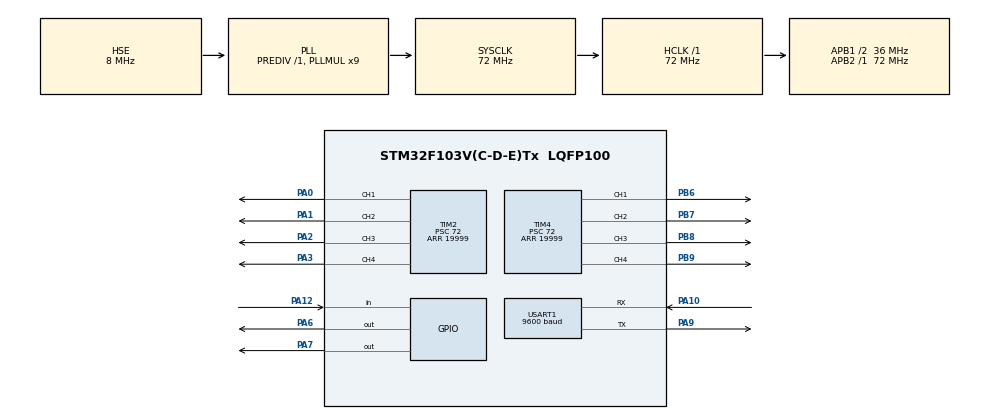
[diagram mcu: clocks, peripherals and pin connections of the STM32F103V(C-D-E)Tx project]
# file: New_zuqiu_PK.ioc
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Dma.Request0=USART1_TX
Dma.Request1=USART1_RX
Dma.USART1_RX.1.Direction=DMA_PERIPH_TO_MEMORY
Dma.USART1_RX.1.Instance=DMA1_Channel5
Dma.USART1_RX.1.MemDataAlignment=DMA_MDATAALIGN_BYTE
Dma.USART1_RX.1.MemInc=DMA_MINC_ENABLE
Dma.USART1_RX.1.Mode=DMA_NORMAL
Dma.USART1_RX.1.PeriphDataAlignment=DMA_PDATAALIGN_BYTE
Dma.USART1_RX.1.PeriphInc=DMA_PINC_DISABLE
Dma.USART1_RX.1.Priority=DMA_PRIORITY_LOW
Dma.USART1_TX.0.Direction=DMA_MEMORY_TO_PERIPH
Dma.USART1_TX.0.Instance=DMA1_Channel4
Dma.USART1_TX.0.MemDataAlignment=DMA_MDATAALIGN_BYTE
Dma.USART1_TX.0.MemInc=DMA_MINC_ENABLE
Dma.USART1_TX.0.Mode=DMA_NORMAL
Dma.USART1_TX.0.PeriphDataAlignment=DMA_PDATAALIGN_BYTE
Dma.USART1_TX.0.PeriphInc=DMA_PINC_DISABLE
Dma.USART1_TX.0.Priority=DMA_PRIORITY_LOW
Mcu.Family=STM32F1
Mcu.Name=STM32F103V(C-D-E)Tx
Mcu.Package=LQFP100
NVIC.DMA1_Channel4_IRQn=true\:0\:0\:false\:false\:true\:false\:true\:true
NVIC.DMA1_Channel5_IRQn=true\:0\:0\:false\:false\:true\:false\:true\:true
NVIC.PriorityGroup=NVIC_PRIORITYGROUP_4
NVIC.USART1_IRQn=true\:0\:0\:false\:false\:true\:false\:true\:true
OSC_IN.Mode=HSE-External-Oscillator
OSC_IN.Signal=RCC_OSC_IN
OSC_OUT.Mode=HSE-External-Oscillator
OSC_OUT.Signal=RCC_OSC_OUT
PA0-WKUP.Signal=S_TIM2_CH1_ETR
PA1.Signal=S_TIM2_CH2
PA10.Mode=Asynchronous
PA10.Signal=USART1_RX
PA12.Signal=GPIO_Input
PA13.Mode=Serial_Wire
PA13.Signal=SYS_JTMS-SWDIO
PA14.Mode=Serial_Wire
PA14.Signal=SYS_JTCK-SWCLK
PA2.Signal=S_TIM2_CH3
PA3.Signal=S_TIM2_CH4
PA6.Signal=GPIO_Output
PA7.Signal=GPIO_Output
PA9.Mode=Asynchronous
PA9.Signal=USART1_TX
PB6.Signal=S_TIM4_CH1
PB7.Signal=S_TIM4_CH2
PB8.Signal=S_TIM4_CH3
PB9.Signal=S_TIM4_CH4
ProjectManager.HeapSize=0x200
ProjectManager.StackSize=0x400
ProjectManager.TargetToolchain=MDK-ARM V5.32
RCC.AHBFreq_Value=72000000
RCC.APB1CLKDivider=RCC_HCLK_DIV2
RCC.APB1Freq_Value=36000000
RCC.APB1TimFreq_Value=72000000
RCC.APB2Freq_Value=72000000
RCC.APB2TimFreq_Value=72000000
RCC.HCLKFreq_Value=72000000
RCC.PLLMUL=RCC_PLL_MUL9
RCC.PLLSourceVirtual=RCC_PLLSOURCE_HSE
RCC.SYSCLKFreq_VALUE=72000000
RCC.SYSCLKSource=RCC_SYSCLKSOURCE_PLLCLK
RCC.USBFreq_Value=72000000
SH.S_TIM2_CH1_ETR.0=TIM2_CH1,PWM Generation1 CH1
SH.S_TIM2_CH2.0=TIM2_CH2,PWM Generation2 CH2
SH.S_TIM2_CH3.0=TIM2_CH3,PWM Generation3 CH3
SH.S_TIM2_CH4.0=TIM2_CH4,PWM Generation4 CH4
SH.S_TIM4_CH1.0=TIM4_CH1,PWM Generation1 CH1
SH.S_TIM4_CH2.0=TIM4_CH2,PWM Generation2 CH2
SH.S_TIM4_CH3.0=TIM4_CH3,PWM Generation3 CH3
SH.S_TIM4_CH4.0=TIM4_CH4,PWM Generation4 CH4
TIM2.Channel-PWM\ Generation1\ CH1=TIM_CHANNEL_1
TIM2.Channel-PWM\ Generation2\ CH2=TIM_CHANNEL_2
TIM2.Channel-PWM\ Generation3\ CH3=TIM_CHANNEL_3
TIM2.Channel-PWM\ Generation4\ CH4=TIM_CHANNEL_4
TIM2.Period=19999
TIM2.Prescaler=72
TIM4.Channel-PWM\ Generation1\ CH1=TIM_CHANNEL_1
TIM4.Channel-PWM\ Generation2\ CH2=TIM_CHANNEL_2
TIM4.Channel-PWM\ Generation3\ CH3=TIM_CHANNEL_3
TIM4.Channel-PWM\ Generation4\ CH4=TIM_CHANNEL_4
TIM4.OCPolarity_1=TIM_OCPOLARITY_LOW
TIM4.OCPolarity_2=TIM_OCPOLARITY_LOW
TIM4.OCPolarity_3=TIM_OCPOLARITY_LOW
TIM4.OCPolarity_4=TIM_OCPOLARITY_LOW
TIM4.Period=19999
TIM4.Prescaler=72
USART1.BaudRate=9600
USART1.VirtualMode=VM_ASYNC
VP_TIM2_VS_ClockSourceINT.Mode=Internal
VP_TIM4_VS_ClockSourceINT.Mode=Internal
board=custom

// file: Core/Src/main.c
/* USER CODE BEGIN Header */
/**
  ******************************************************************************
  * @file           : main.c
  * @brief          : Main program body
  ******************************************************************************
  * @attention
  *
  * Copyright (c) 2026 STMicroelectronics.
  * All rights reserved.
  *
  * This software is licensed under terms that can be found in the LICENSE file
  * in the root directory of this software component.
  * If no LICENSE file comes with this software, it is provided AS-IS.
  *
  ******************************************************************************
  */
/* USER CODE END Header */
#include "main.h"
#include "dma.h"
#include "tim.h"
#include "usart.h"
#include "gpio.h"

/* USER CODE BEGIN Includes */
#include "BSP_Motor.h"
#include "Printf_DMA.H"
#include "BSP_433.H"
#include "BSP_servo.H"
/* USER CODE END Includes */

void SystemClock_Config(void);

/* USER CODE BEGIN 0 */
///* 左侧十字按键。 */
//#define CMD_Cross_Up       (0x5751U)
//#define CMD_Cross_Down     (0x585AU)
//#define CMD_Cross_LEFT     (0x5341U)
//#define CMD_Cross_RIGHT    (0x584DU)

///* 右侧纵向排列的两个按键。 */
//#define CMD_Forward        (0x4F50U)
//#define CMD_Back           (0x4B4CU)

///* 下方横向排列的两个按键。 */
//#define CMD_One            (0x4342U)
//#define CMD_Two            (0x4944U)

uint32_t old_printf_time=0;		//上一次打印时间

uint16_t Servo_Control=0;		//舵机控制变量

uint8_t Servo_Control_byte[2]={0};

/* USER CODE END 0 */

int main(void)
{

  /* USER CODE BEGIN 1 */
	int16_t chassis_throttle_target;
	int16_t chassis_steering_target;
	bool key_forward;
	bool key_back;
	bool key_left;
	bool key_right;
  /* USER CODE END 1 */

  /* MCU Configuration--------------------------------------------------------*/

  /* Reset of all peripherals, Initializes the Flash interface and the Systick. */
  HAL_Init();

  /* Configure the system clock */
  SystemClock_Config();

  /* Initialize all configured peripherals */
  MX_GPIO_Init();
  MX_DMA_Init();
  MX_USART1_UART_Init();
  MX_TIM4_Init();
  MX_TIM2_Init();
  /* USER CODE BEGIN 2 */
	BSP_Motor_Init();
	Set_uart_433_Init();
	BSP_Servo_Init();
//	BSP_Servo_SetJ1Pulse(2050);	//写入通道1的ccr值,控制关节1
//	BSP_Servo_SetJ2Pulse(2300);	//写入通道2的ccr值,控制关节2
//	BSP_Servo_SetJ3Pulse(980);	//写入通道3的ccr值,控制关节3

	BSP_Servo_SetAbsoluteAngles(0,
                                 0,
                                 0);

  /* USER CODE END 2 */

  /* Infinite loop */
  /* USER CODE BEGIN WHILE */
  while (1)
  {
		if(BSP_433_GetKeyStateOnce(CMD_Cross_Up)){
			if(Servo_Control==2500){
				Servo_Control=500;
			}else{
				Servo_Control=2500;
			}
			BSP_Servo_SetGripperPulse(Servo_Control);
//			HAL_Delay(2000);

		}
//			//把角度ccr值变成字节数据包
//			Servo_Control_byte[0]=(uint8_t)(Servo_Control>>8);
//			Servo_Control_byte[1]=(uint8_t)(Servo_Control&0xFF);
//			//发送数据
//			HAL_UART_Transmit_DMA(&BSP_433_UART_HANDLE,Servo_Control_byte,2);

//		Red_uart_433();

		// //500毫秒非阻塞打印输出
		// if((HAL_GetTick()-old_printf_time)>=1000){		//这次时间减去上次时间大于500毫秒
		// 	Witch_uart_433();
		// 	old_printf_time=HAL_GetTick();	//更新上一次打印时间
		// }
//		Set_uart_433();

//		BSP_Chassis_Drive(0,-9000);

//		BSP_Servo_SetFrontRightWheelSpeed(0);
//		BSP_Servo_SetFrontLeftWheelSpeed(0);
//		BSP_Servo_SetRearLeftWheelSpeed(0);
//		BSP_Servo_SetRearRightWheelSpeed(0);

//		if(BSP_433_GetKeyState(CMD_Cross_LEFT)){
//			BSP_Chassis_Drive(0,-5000);
//		}else if(BSP_433_GetKeyState(CMD_Cross_RIGHT)){
//			BSP_Chassis_Drive(0,5000);
//		}else if(CMD_Forward){
//			BSP_Chassis_Drive(8000,0);
//		}else if(CMD_Back){
//			BSP_Chassis_Drive(-8000,0);
//		}else{
//			BSP_Chassis_Drive(0,0);
//		}

		/*
		 * 油门轴和转向轴分别读取按键、分别生成目标值。
		 * 不能使用一条else-if链，否则“前进+左/右”只能保留先判断到的一个动作。
		 * 同一轴的两个相反按键若同时有效，则该轴目标保持为0，避免指令互相争抢。
		 */
		key_forward = BSP_433_GetKeyState(CMD_Forward);
		key_back = BSP_433_GetKeyState(CMD_Back);
		key_left = BSP_433_GetKeyState(CMD_Cross_LEFT);
		key_right = BSP_433_GetKeyState(CMD_Cross_RIGHT);

		chassis_throttle_target = 0;
		if (key_forward && !key_back)
		{
			chassis_throttle_target = 7500;
		}
		else if (key_back && !key_forward)
		{
			chassis_throttle_target = -7500;
		}

		chassis_steering_target = 0;
		if (key_right && !key_left)
		{
			chassis_steering_target = BSP_CHASSIS_RAMP_STEERING_MAX_COMMAND;
		}
		else if (key_left && !key_right)
		{
			chassis_steering_target = -BSP_CHASSIS_RAMP_STEERING_MAX_COMMAND;
		}

    // BSP_Chassis_Drive(chassis_throttle_target,chassis_steering_target);

		BSP_Chassis_RampDrive(chassis_throttle_target,
			chassis_steering_target,
			BSP_CHASSIS_RAMP_THROTTLE_ACCEL_PER_SEC,
			BSP_CHASSIS_RAMP_STEERING_ACCEL_PER_SEC);

//		HAL_Delay(500);
//		HAL_Delay(500);

//		//???????
//		HAL_GPIO_WritePin(GPIOA,GPIO_PIN_12,GPIO_PIN_SET);
//		HAL_Delay(500);
//		HAL_GPIO_WritePin(GPIOA,GPIO_PIN_12,GPIO_PIN_RESET);
//		HAL_Delay(500);

//		HAL_GPIO_WritePin(GPIOA,GPIO_PIN_6,GPIO_PIN_RESET);
//		HAL_GPIO_WritePin(GPIOA,GPIO_PIN_7,GPIO_PIN_SET);
//
//		qianjin();
//		tem_num+=100;
//		konzhi(tem_num);
//		if(tem_num>1800){
//			tem_num=1200;
//		}

//							/* ???????????? */
//			if (HAL_GPIO_ReadPin(GPIOB, GPIO_PIN_12) == GPIO_PIN_RESET)
//			{
//					/* ?? PB12 ??? */
//					HAL_GPIO_TogglePin(GPIOC, GPIO_PIN_13);
//					konzhi(1300);
//					/* ??????(?????),????????? */
//					HAL_Delay(20);
//					while (HAL_GPIO_ReadPin(GPIOB, GPIO_PIN_12) == GPIO_PIN_RESET)
//					{
//							// ?????????????
//					}
//			}
//
//
//			/* ???????????1 */
//			if (HAL_GPIO_ReadPin(GPIOB, GPIO_PIN_14) == GPIO_PIN_RESET)
//			{
//					/* ?? PB12 ??? */
//					HAL_GPIO_TogglePin(GPIOC, GPIO_PIN_13);
//					konzhi(1500);
//					/* ??????(?????),????????? */
//					HAL_Delay(20);
//					while (HAL_GPIO_ReadPin(GPIOB, GPIO_PIN_14) == GPIO_PIN_RESET)
//					{
//							// ?????????????
//					}
//			}
//
//							/* ???????????? */
//			if (HAL_GPIO_ReadPin(GPIOB, GPIO_PIN_13) == GPIO_PIN_RESET)
//			{
//					/* ?? PB12 ??? */
//					HAL_GPIO_TogglePin(GPIOC, GPIO_PIN_13);
//					konzhi(1700);
//					/* ??????(?????),????????? */
//					HAL_Delay(20);
//					while (HAL_GPIO_ReadPin(GPIOB, GPIO_PIN_13) == GPIO_PIN_RESET)
//					{
//							// ?????????????
//					}
//			}
    /* USER CODE END WHILE */

  }
}

void SystemClock_Config(void)
{
  RCC_OscInitTypeDef RCC_OscInitStruct = {0};
  RCC_ClkInitTypeDef RCC_ClkInitStruct = {0};

  /** Initializes the RCC Oscillators according to the specified parameters
  * in the RCC_OscInitTypeDef structure.
  */
  RCC_OscInitStruct.OscillatorType = RCC_OSCILLATORTYPE_HSE;
  RCC_OscInitStruct.HSEState = RCC_HSE_ON;
  RCC_OscInitStruct.HSEPredivValue = RCC_HSE_PREDIV_DIV1;
  RCC_OscInitStruct.HSIState = RCC_HSI_ON;
  RCC_OscInitStruct.PLL.PLLState = RCC_PLL_ON;
  RCC_OscInitStruct.PLL.PLLSource = RCC_PLLSOURCE_HSE;
  RCC_OscInitStruct.PLL.PLLMUL = RCC_PLL_MUL9;
  if (HAL_RCC_OscConfig(&RCC_OscInitStruct) != HAL_OK)
  {
    Error_Handler();
  }

  /** Initializes the CPU, AHB and APB buses clocks
  */
  RCC_ClkInitStruct.ClockType = RCC_CLOCKTYPE_HCLK|RCC_CLOCKTYPE_SYSCLK
                              |RCC_CLOCKTYPE_PCLK1|RCC_CLOCKTYPE_PCLK2;
  RCC_ClkInitStruct.SYSCLKSource = RCC_SYSCLKSOURCE_PLLCLK;
  RCC_ClkInitStruct.AHBCLKDivider = RCC_SYSCLK_DIV1;
  RCC_ClkInitStruct.APB1CLKDivider = RCC_HCLK_DIV2;
  RCC_ClkInitStruct.APB2CLKDivider = RCC_HCLK_DIV1;

  if (HAL_RCC_ClockConfig(&RCC_ClkInitStruct, FLASH_LATENCY_2) != HAL_OK)
  {
    Error_Handler();
  }
}

void Error_Handler(void)
{
  __disable_irq();
  while (1)
  {
  }
}
